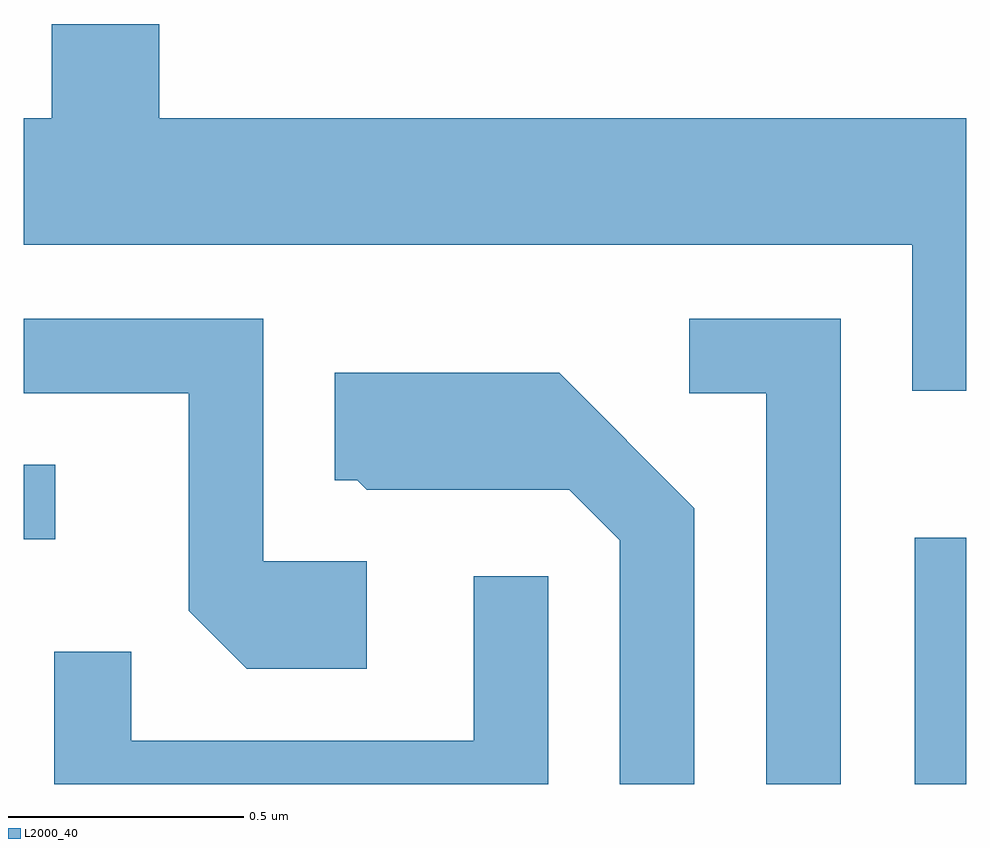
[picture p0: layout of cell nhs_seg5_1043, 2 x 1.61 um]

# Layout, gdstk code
import gdstk
lib = gdstk.Library(unit=1e-6, precision=1e-09)
def R(c, l, rs):  # rectangles x0, y0, x1, y1
    for r in rs: c.add(gdstk.rectangle(r[:2], r[2:], *l))
def P(c, l, *ps):  # polygons
    for p in ps: c.add(gdstk.Polygon(p, *l))
L2000_40 = (2000, 40)

nhs_seg5_1043 = lib.new_cell('nhs_seg5_1043')
R(nhs_seg5_1043, L2000_40, [(194.501,1480.072,194.611,1480.594), (192.611,1480.591,192.678,1480.749)])
P(nhs_seg5_1043, L2000_40, [(194.611,1481.484),(192.899,1481.484),(192.899,1481.684),(192.671,1481.684),(192.671,1481.484),(192.611,1481.484),(192.611,1481.216),(194.496,1481.216),(194.496,1480.906),(194.611,1480.906)],
  [(194.344,1481.059),(194.023,1481.059),(194.023,1480.901),(194.186,1480.901),(194.186,1480.072),(194.344,1480.072)],
  [(193.339,1480.544),(193.119,1480.544),(193.119,1481.059),(192.611,1481.059),(192.611,1480.901),(192.961,1480.901),(192.961,1480.439),(193.084,1480.316),(193.339,1480.316)],
  [(194.034,1480.657),(193.747,1480.944),(193.271,1480.944),(193.271,1480.716),(193.319,1480.716),(193.339,1480.696),(193.769,1480.696),(193.876,1480.589),(193.876,1480.072),(194.034,1480.072)],
  [(193.724,1480.513),(193.566,1480.513),(193.566,1480.164),(192.839,1480.164),(192.839,1480.353),(192.676,1480.353),(192.676,1480.072),(193.724,1480.072)])

lib.write_gds('nhs_seg5_1043.gds')
